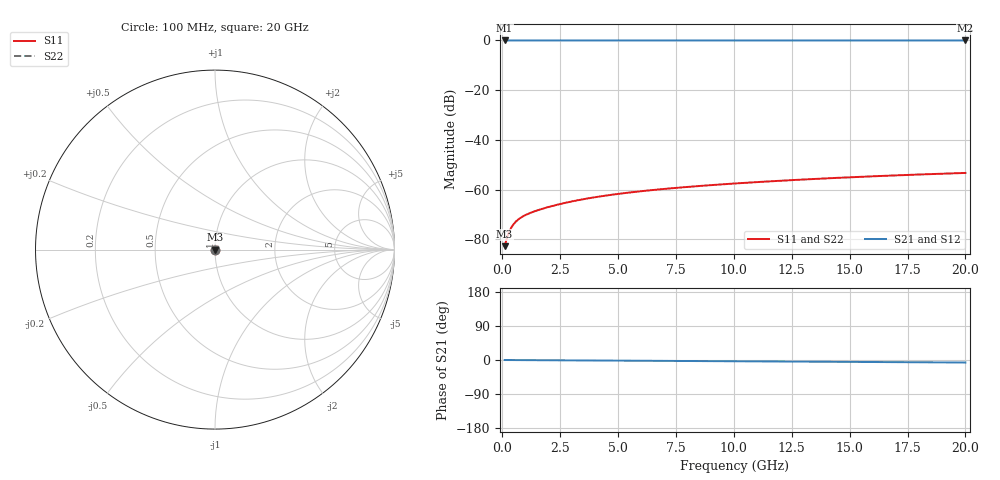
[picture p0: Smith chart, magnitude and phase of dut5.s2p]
! Touchstone file exported from HFSS 2026.1.0
!  File:  C:/ffzhzh/LocalFiles/Ansys_Project_Files/temp_test_TSV_5_1782978045_45748.aedt
!  Generated:  03:42:14 PM Jul  2, 2026
!  Design:  TSV
!  Project:  temp_test_TSV_5_1782978045_45748
! Variables:
!  h_bsmrdl = 2um
!  h_ox = 20um
!  h_rdl = 5um
!  h_sub = 61.24um
!  h_tmrdl = 5um
!  h_tsv = 61.24um
!  h_via = 3um
!  l_bsmrdl = 300um
!  l_sub = 429.88um
!  l_tmrdl = 200um
!  m_sub = 200um
!  pitch = 59.76um
!  r_tsv = 14.94um
!  s_tmrdl = 10um
!  w_bsmrdl = 18um
!  w_sub = 500um
!  w_tmrdl = 12um
!  x_tsv_center1 = 206um
!  x_tsv_center2 = 524um
!  x_tsv_center3 = 736um
!  x_tsv_center4 = 1054um
!  x_tsv_center5 = 1266um
!  x_tsv_center6 = 1584um
# GHz S MA R 50.000000
! Terminal data exported
! Port[1] = TSV1_1_T1
! Port[2] = TSV1_1_T2
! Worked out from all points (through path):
!   200 points, 100 MHz to 20 GHz, reference 50 ohm
!   highest |S21| = 0.00 dB at 100 MHz (marker M1); lowest = 0.0 dB at 20 GHz (marker M2)
!   lowest |S11| = -82.8 dB at 100 MHz (marker M3), VSWR 1.00, Z = 50 + j0.00416 ohm
!   |S11| at or under -10 dB: start of sweep to end of sweep
!   |S22| runs from -82.8 to -53.3 dB; largest |S21 - S12| = 5.3e-15
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0.1  7.234e-05 35.1  0.9999 -0.0  0.9999 -0.0  7.234e-05 35.1
! Gamma 0 0 0 0
! Port Impedance 50 0 50 0
0.2  0.0001064 48.9  0.9999 -0.1  0.9999 -0.1  0.0001064 48.9
0.3  0.0001421 53.2  0.9999 -0.1  0.9999 -0.1  0.0001421 53.2
0.4  0.000175 54.1  0.9999 -0.1  0.9999 -0.1  0.000175 54.1
0.5  0.0002041 53.9  0.9999 -0.2  0.9999 -0.2  0.0002041 53.9
0.6  0.0002294 53.4  0.9999 -0.2  0.9999 -0.2  0.0002295 53.4
0.7  0.0002517 52.9  0.9998 -0.2  0.9998 -0.2  0.0002517 53.0
0.8  0.0002715 52.6  0.9998 -0.3  0.9998 -0.3  0.0002715 52.6
1  0.000306 52.3  0.9998 -0.3  0.9998 -0.3  0.000306 52.3
1.4  0.0003647 53.1  0.9998 -0.5  0.9998 -0.5  0.0003647 53.1
2  0.0004451 55.1  0.9997 -0.7  0.9997 -0.7  0.0004451 55.1
2.7  0.0005365 57.2  0.9997 -0.9  0.9997 -0.9  0.0005365 57.2
3.5  0.0006378 58.7  0.9997 -1.2  0.9997 -1.2  0.0006378 58.7
4.2  0.0007226 59.5  0.9996 -1.4  0.9996 -1.4  0.0007226 59.5
5  0.0008149 60.1  0.9996 -1.7  0.9996 -1.7  0.0008148 60.1
5.9  0.0009133 60.6  0.9996 -2.0  0.9996 -2.0  0.0009133 60.6
6.8  0.001007 61.0  0.9995 -2.3  0.9995 -2.3  0.001007 61.0
8.3  0.001156 61.6  0.9995 -2.8  0.9995 -2.8  0.001156 61.6
10.1  0.001327 62.1  0.9994 -3.4  0.9994 -3.4  0.001327 62.1
13.4  0.001624 62.5  0.9994 -4.5  0.9994 -4.5  0.001623 62.6
16.7  0.001901 62.5  0.9993 -5.6  0.9993 -5.6  0.0019 62.5
20  0.002155 62.1  0.9992 -6.6  0.9992 -6.6  0.002154 62.2
